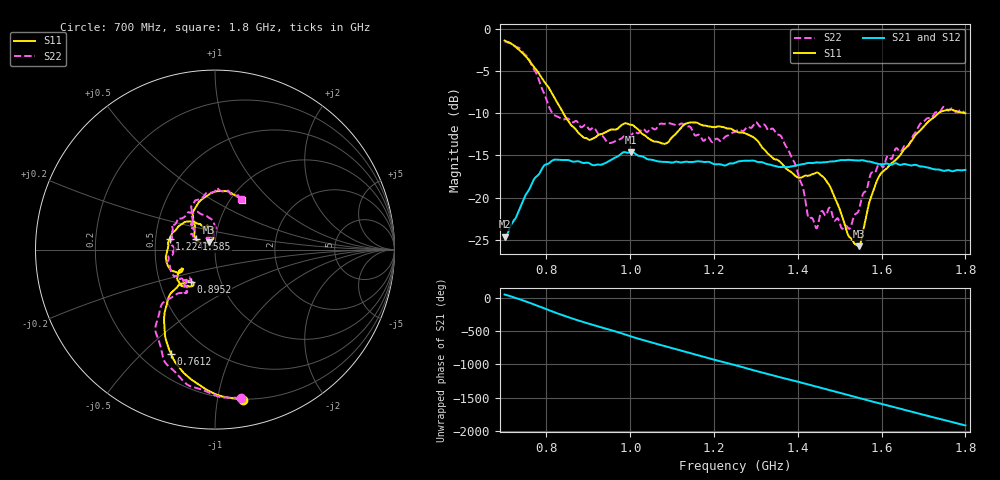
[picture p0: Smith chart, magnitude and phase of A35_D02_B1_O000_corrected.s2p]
! Created with skrf 1.9.0 (http://scikit-rf.org).
# Hz S RI R 50.0
!freq ReS11 ImS11 ReS21 ImS21 ReS12 ImS12 ReS22 ImS22
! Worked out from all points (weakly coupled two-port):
!   1601 points, 700 MHz to 1.8 GHz, reference 50 ohm
!   highest |S21| = -14.61 dB at 1.002 GHz (marker M1); lowest = -24.6 dB at 700.7 MHz (marker M2)
!   lowest |S11| = -25.8 dB at 1.545 GHz (marker M3), VSWR 1.11, Z = 46.7 + j3.72 ohm
!   |S11| at or under -10 dB: 840 MHz to 1.736 GHz (896.2 MHz wide, 69.6 % of centre); 1.797624 GHz to end of sweep
!   |S22| runs from -23.7 to -1.5 dB; largest |S21 - S12| = 0.0034
!   S11 on the Smith chart (normalised r, x): 700 MHz: 0.20, -1.19; 761.2 MHz: 0.32, -0.62; 895.2 MHz: 0.72, -0.27; 1.224 GHz: 0.59, +0.08; 1.585 GHz: 0.80, +0.09; 1.8 GHz: 1.13, +0.69
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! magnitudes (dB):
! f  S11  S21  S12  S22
! 700 MHz  -1.4  -24.6  -24.4  -1.5
! 700.7 MHz  -1.4  -24.6  -24.3  -1.5
! 761.2 MHz  -4.0  -18.8  -18.7  -3.9
! 814.8 MHz  -7.8  -15.6  -15.7  -10.0
! 883.6 MHz  -12.7  -15.8  -15.7  -11.7
! 895.2 MHz  -13.0  -15.9  -16.0  -11.5
! 949.6 MHz  -12.0  -15.7  -15.7  -13.6
! 1.002 GHz  -11.4  -14.6  -14.7  -12.6
! 1.067 GHz  -13.4  -15.7  -15.7  -11.5
! 1.139 GHz  -11.2  -15.8  -15.7  -11.6
! 1.224 GHz  -11.7  -16.2  -16.2  -12.9
! 1.25 GHz  -12.1  -15.9  -15.8  -12.2
! 1.3 GHz  -13.1  -15.7  -15.7  -11.1
! 1.359 GHz  -15.8  -16.4  -16.4  -12.7
! 1.434 GHz  -17.3  -15.9  -15.9  -22.4
! 1.473 GHz  -18.4  -15.8  -15.8  -21.3
! 1.522 GHz  -24.6  -15.5  -15.6  -23.7
! 1.545 GHz  -25.8  -15.6  -15.6  -21.6
! 1.585 GHz  -18.4  -15.9  -15.9  -17.0
! 1.617 GHz  -16.3  -16.0  -16.0  -15.1
! 1.737 GHz  -10.0  -16.7  -16.8  -10.0
! 1.8 GHz  -10.0  -16.7  -16.7  -10.0
